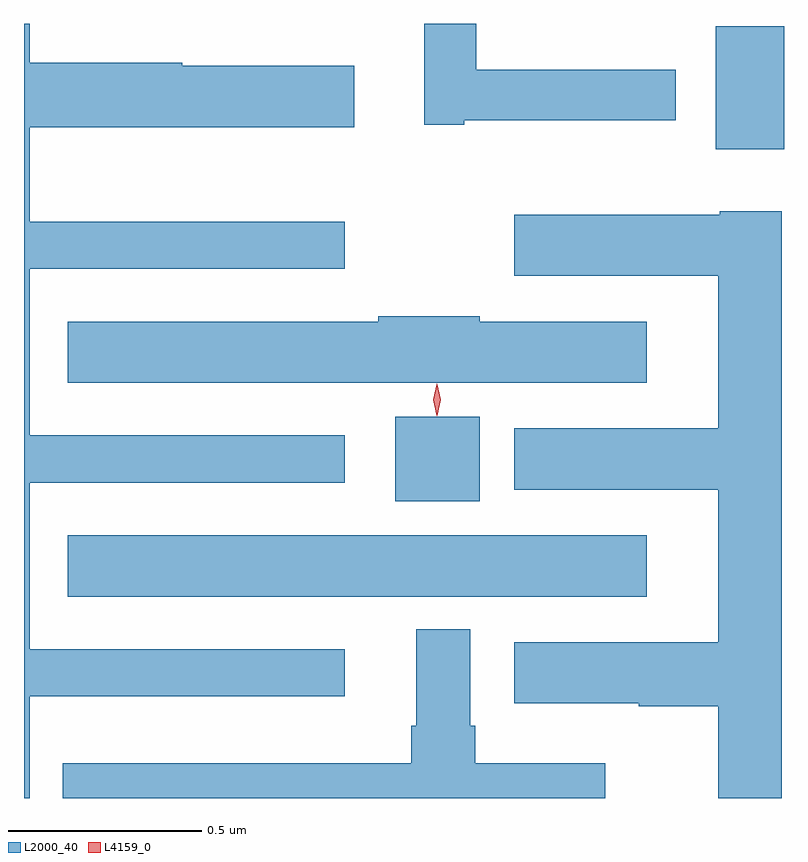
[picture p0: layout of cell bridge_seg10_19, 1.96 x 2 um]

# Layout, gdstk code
import gdstk
lib = gdstk.Library(unit=1e-6, precision=1e-09)
def R(c, l, rs):  # rectangles x0, y0, x1, y1
    for r in rs: c.add(gdstk.rectangle(r[:2], r[2:], *l))
def P(c, l, *ps):  # polygons
    for p in ps: c.add(gdstk.Polygon(p, *l))
L2000_40 = (2000, 40)
L4159_0 = (4159, 0)

bridge_seg10_19 = lib.new_cell('bridge_seg10_19')
R(bridge_seg10_19, L2000_40, [(1050.417,1326.17,1051.912,1326.328), (1051.262,1326.416,1051.48,1326.634), (1052.09,1327.325,1052.266,1327.642)])
P(bridge_seg10_19, L2000_40, [(1051.441,1327.4),(1051.987,1327.4),(1051.987,1327.53),(1051.472,1327.53),(1051.472,1327.649),(1051.337,1327.649),(1051.337,1327.388),(1051.441,1327.388)],
  [(1050.319,1325.912),(1051.132,1325.912),(1051.132,1326.034),(1050.319,1326.034),(1050.319,1326.464),(1051.132,1326.464),(1051.132,1326.586),(1050.319,1326.586),(1050.319,1327.016),(1051.132,1327.016),(1051.132,1327.138),(1050.319,1327.138),(1050.319,1327.382),(1051.156,1327.382),(1051.156,1327.54),(1050.713,1327.54),(1050.713,1327.548),(1050.319,1327.548),(1050.319,1327.649),(1050.304,1327.649),(1050.304,1325.649),(1050.319,1325.649)],
  [(1052.26,1327.165),(1052.1,1327.165),(1052.1,1327.156),(1051.569,1327.156),(1051.569,1326.998),(1052.096,1326.998),(1052.096,1326.604),(1051.569,1326.604),(1051.569,1326.446),(1052.096,1326.446),(1052.096,1326.052),(1051.569,1326.052),(1051.569,1325.894),(1051.891,1325.894),(1051.891,1325.887),(1052.096,1325.887),(1052.096,1325.649),(1052.26,1325.649)],
  [(1051.912,1326.88),(1051.481,1326.88),(1051.481,1326.893),(1051.219,1326.893),(1051.219,1326.88),(1050.417,1326.88),(1050.417,1326.722),(1051.912,1326.722)],
  [(1051.804,1325.74),(1051.469,1325.74),(1051.469,1325.836),(1051.456,1325.836),(1051.456,1326.085),(1051.316,1326.085),(1051.316,1325.836),(1051.304,1325.836),(1051.304,1325.74),(1050.404,1325.74),(1050.404,1325.649),(1051.804,1325.649)])
P(bridge_seg10_19, L4159_0, [(1051.37,1326.637),(1051.37,1326.637),(1051.36,1326.678),(1051.37,1326.718),(1051.37,1326.719),(1051.371,1326.718),(1051.38,1326.678),(1051.371,1326.637)])

lib.write_gds('bridge_seg10_19.gds')
